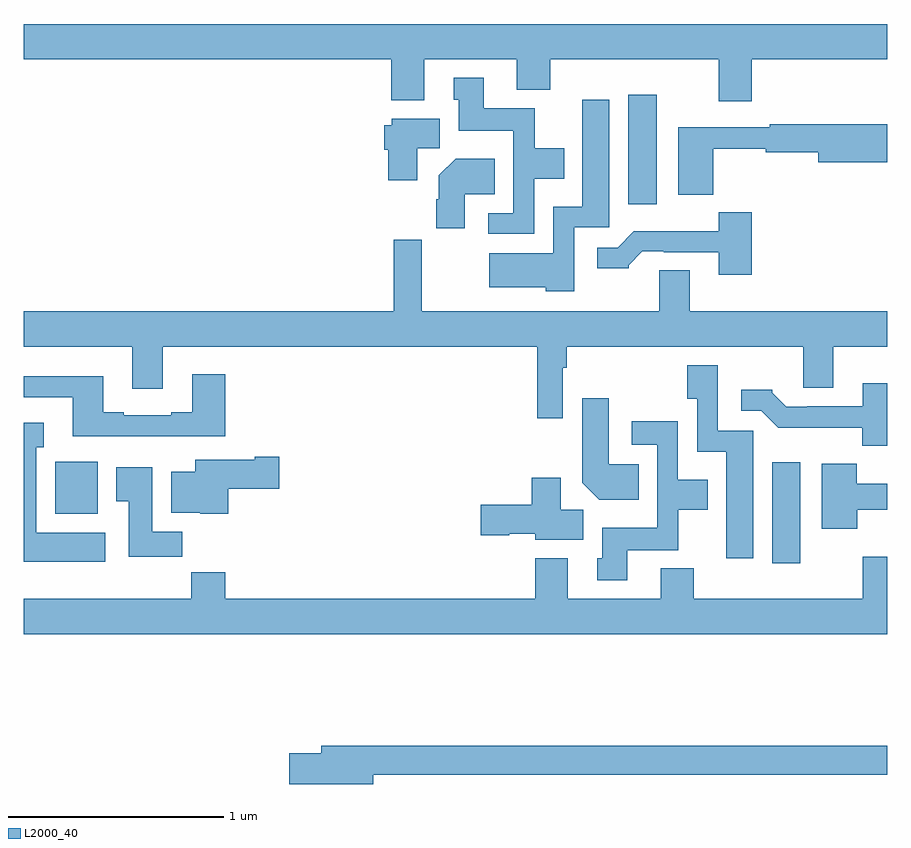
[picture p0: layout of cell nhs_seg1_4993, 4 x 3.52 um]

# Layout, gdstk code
import gdstk
lib = gdstk.Library(unit=1e-6, precision=1e-09)
def R(c, l, rs):  # rectangles x0, y0, x1, y1
    for r in rs: c.add(gdstk.rectangle(r[:2], r[2:], *l))
def P(c, l, *ps):  # polygons
    for p in ps: c.add(gdstk.Polygon(p, *l))
L2000_40 = (2000, 40)

nhs_seg1_4993 = lib.new_cell('nhs_seg1_4993')
R(nhs_seg1_4993, L2000_40, [(384.467,553.392,384.598,553.861), (381.146,553.622,381.343,553.864), (383.801,555.057,383.932,555.565)])
P(nhs_seg1_4993, L2000_40, [(384.374,555.728),(385,555.728),(385,555.892),(381,555.892),(381,555.728),(382.703,555.728),(382.703,555.539),(382.855,555.539),(382.855,555.728),(383.285,555.728),(383.285,555.587),(383.438,555.587),(383.438,555.728),(384.221,555.728),(384.221,555.534),(384.374,555.534)],
  [(383.364,555.176),(383.503,555.176),(383.503,555.316),(383.367,555.316),(383.367,555.502),(383.131,555.502),(383.131,555.643),(382.991,555.643),(382.991,555.54),(383.015,555.54),(383.015,555.398),(383.268,555.398),(383.268,555.015),(383.151,555.015),(383.151,554.919),(383.364,554.919)],
  [(383.55,554.949),(383.713,554.949),(383.713,555.541),(383.588,555.541),(383.588,555.046),(383.454,555.046),(383.454,554.83),(383.157,554.83),(383.157,554.672),(383.418,554.672),(383.418,554.654),(383.55,554.654)],
  [(382.822,555.316),(382.927,555.316),(382.927,555.454),(382.704,555.454),(382.704,555.423),(382.67,555.423),(382.67,555.309),(382.688,555.309),(382.688,555.168),(382.822,555.168)],
  [(384.194,555.313),(384.438,555.313),(384.438,555.298),(384.68,555.298),(384.68,555.251),(385,555.251),(385,555.427),(384.457,555.427),(384.457,555.414),(384.032,555.414),(384.032,555.101),(384.194,555.101)],
  [(383.044,555.104),(383.183,555.104),(383.183,555.268),(383,555.268),(382.922,555.19),(382.922,555.08),(382.91,555.08),(382.91,554.946),(383.044,554.946)],
  [(384.374,555.019),(384.219,555.019),(384.219,554.932),(383.827,554.932),(383.751,554.856),(383.658,554.856),(383.658,554.759),(383.802,554.759),(383.802,554.774),(383.866,554.838),(383.965,554.838),(383.965,554.835),(384.221,554.835),(384.221,554.73),(384.374,554.73)],
  [(383.496,554.3),(383.516,554.3),(383.516,554.396),(384.611,554.396),(384.611,554.206),(384.751,554.206),(384.751,554.396),(385,554.396),(385,554.56),(384.085,554.56),(384.085,554.75),(383.945,554.75),(383.945,554.56),(382.843,554.56),(382.843,554.893),(382.714,554.893),(382.714,554.56),(381,554.56),(381,554.396),(381.503,554.396),(381.503,554.202),(381.643,554.202),(381.643,554.396),(383.38,554.396),(383.38,554.064),(383.496,554.064)],
  [(384.379,554.007),(384.216,554.007),(384.216,554.311),(384.073,554.311),(384.073,554.155),(384.12,554.155),(384.12,553.91),(384.254,553.91),(384.254,553.416),(384.379,553.416)],
  [(381.932,554.269),(381.779,554.269),(381.779,554.092),(381.683,554.092),(381.683,554.079),(381.463,554.079),(381.463,554.092),(381.367,554.092),(381.367,554.26),(381,554.26),(381,554.163),(381.227,554.163),(381.227,553.982),(381.932,553.982)],
  [(385,554.227),(384.887,554.227),(384.887,554.121),(384.631,554.121),(384.631,554.118),(384.532,554.118),(384.468,554.182),(384.468,554.197),(384.324,554.197),(384.324,554.1),(384.417,554.1),(384.496,554.022),(384.885,554.022),(384.885,553.937),(385,553.937)],
  [(383.849,553.852),(383.71,553.852),(383.71,554.158),(383.588,554.158),(383.588,553.766),(383.666,553.688),(383.849,553.688)],
  [(383.797,553.454),(384.033,553.454),(384.033,553.64),(384.169,553.64),(384.169,553.78),(384.03,553.78),(384.03,554.05),(383.817,554.05),(383.817,553.941),(383.934,553.941),(383.934,553.558),(383.681,553.558),(383.681,553.416),(383.657,553.416),(383.657,553.314),(383.797,553.314)],
  [(381.376,553.534),(381.058,553.534),(381.058,553.931),(381.091,553.931),(381.091,554.044),(381,554.044),(381,553.4),(381.376,553.4)],
  [(381.947,553.739),(382.183,553.739),(382.183,553.886),(382.07,553.886),(382.07,553.873),(381.794,553.873),(381.794,553.816),(381.683,553.816),(381.683,553.628),(381.816,553.628),(381.816,553.622),(381.947,553.622)],
  [(384.862,553.64),(385,553.64),(385,553.762),(384.86,553.762),(384.86,553.855),(384.698,553.855),(384.698,553.554),(384.862,553.554)],
  [(381.734,553.54),(381.595,553.54),(381.595,553.837),(381.428,553.837),(381.428,553.681),(381.485,553.681),(381.485,553.422),(381.734,553.422)],
  [(383.593,553.64),(383.488,553.64),(383.488,553.789),(383.354,553.789),(383.354,553.664),(383.118,553.664),(383.118,553.522),(383.25,553.522),(383.25,553.529),(383.37,553.529),(383.37,553.502),(383.593,553.502)],
  [(385,553.423),(384.887,553.423),(384.887,553.228),(384.104,553.228),(384.104,553.369),(383.951,553.369),(383.951,553.228),(383.521,553.228),(383.521,553.417),(383.369,553.417),(383.369,553.228),(381.932,553.228),(381.932,553.352),(381.775,553.352),(381.775,553.228),(381,553.228),(381,553.064),(385,553.064)],
  [(382.618,552.412),(385,552.412),(385,552.548),(382.379,552.548),(382.379,552.512),(382.23,552.512),(382.23,552.37),(382.618,552.37)])

lib.write_gds('nhs_seg1_4993.gds')
